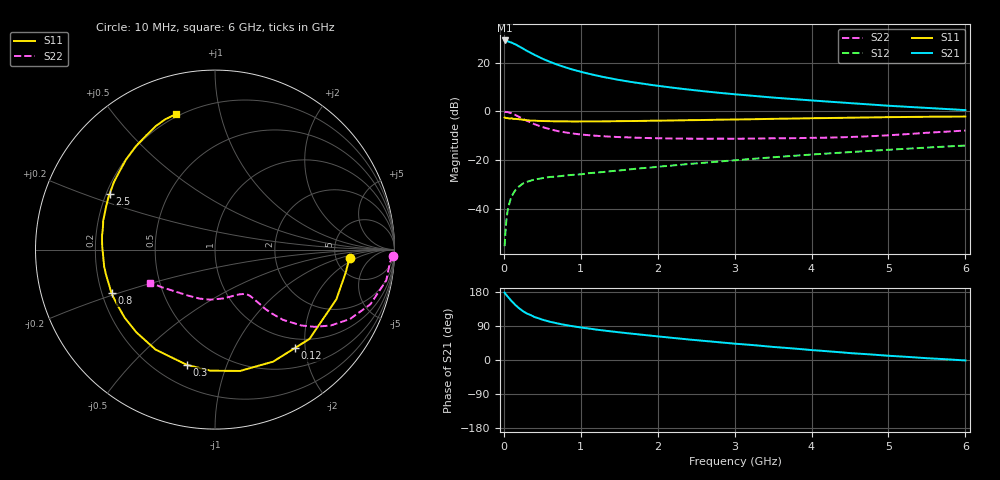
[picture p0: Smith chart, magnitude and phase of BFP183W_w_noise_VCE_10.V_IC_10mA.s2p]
! Infineon Technologies  Discrete & RF Semiconductors
! BFP183W
! VCE =  10. V,  IC =  10 mA
! Common Emitter S-Parameters:  Jan 2017
# GHz  S  MA  R  50
!  f  S11  S21  S12  S22
! GHz  MAG  ANG  MAG  ANG  MAG  ANG  MAG  ANG
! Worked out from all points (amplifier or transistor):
!   77 points, 10 MHz to 6 GHz, reference 50 ohm
!   highest |S21| = 29.2 dB at 10 MHz (marker M1)
!   |S21| within 3 dB of that: start of sweep to 230.2 MHz
!   unconditionally stable (mu >= 1): 1.705 GHz to 3.879 GHz
!   at 130 MHz: K = 0.15, MSG = 30.6 dB, |S12| = -33.4 dB
!   at 2.2 GHz: K = 1.06, MAG = 14.5 dB, |S12| = -22.2 dB
!   at 6 GHz: K = 0.84, MSG = 7.3 dB, |S12| = -14.0 dB
!   lowest NFmin = 0.92 dB at 450 MHz
!   S11 on the Smith chart (normalised r, x): 10 MHz: 6.72, -1.46; 120 MHz: 0.82, -1.80; 300 MHz: 0.32, -0.73; 800 MHz: 0.24, -0.19; 2.5 GHz: 0.21, +0.24; 6 GHz: 0.19, +0.73
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0.01  0.7513 -3.6  28.77 177.8  0.0017 90.0  0.9914 -2.0
0.02  0.739 -10.2  28.5 174.6  0.0031 92.2  0.9778 -4.1
0.05  0.7307 -22.3  27.7 167.4  0.0092 78.8  0.9694 -10.2
0.1  0.7245 -43.4  26.09 155.5  0.0178 70.3  0.9177 -19.4
0.12  0.7064 -50.9  25.14 151.6  0.0203 66.0  0.8871 -22.4
0.15  0.7032 -62.6  23.95 145.2  0.0241 61.2  0.846 -27.2
0.2  0.6903 -78.4  21.67 136.2  0.0289 56.4  0.7719 -33.2
0.25  0.675 -92.2  19.55 128.7  0.0331 50.6  0.7022 -37.8
0.3  0.6612 -103.7  17.59 122.7  0.0357 46.8  0.6406 -41.3
0.4  0.648 -120.8  14.51 113.3  0.0399 41.9  0.5452 -45.9
0.5  0.6358 -133.5  12.17 106.5  0.0424 39.9  0.4782 -48.3
0.6  0.6301 -143.0  10.44 100.9  0.045 38.1  0.4302 -49.8
0.7  0.6254 -150.7  9.09 96.4  0.0461 38.5  0.3947 -50.5
0.8  0.6259 -157.1  8.065 92.4  0.0482 39.6  0.3703 -51.2
1.1  0.6247 -171.2  5.975 83.2  0.0537 41.0  0.3252 -52.8
1.5  0.6311 175.7  4.433 73.1  0.0611 44.4  0.2969 -56.4
2.1  0.6484 160.6  3.214 60.3  0.0752 48.3  0.2792 -65.5
2.5  0.6635 152.3  2.707 52.4  0.0855 49.6  0.2752 -73.6
3.1  0.686 141.3  2.186 41.6  0.1019 50.2  0.2756 -86.8
4.1  0.7281 126.1  1.641 24.8  0.1331 48.6  0.2876 -110.6
5.1  0.7655 114.6  1.282 10.0  0.1663 44.8  0.3308 -136.6
6  0.7851 106.2  1.065 -1.2  0.1992 39.9  0.405 -152.9
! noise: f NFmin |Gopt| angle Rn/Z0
0.45  0.92  0.1  112  0.11
0.9  0.97  0.18  144  0.09
1.9  1.47  0.37  -176  0.07
2.4  1.72  0.44  -167  0.09
